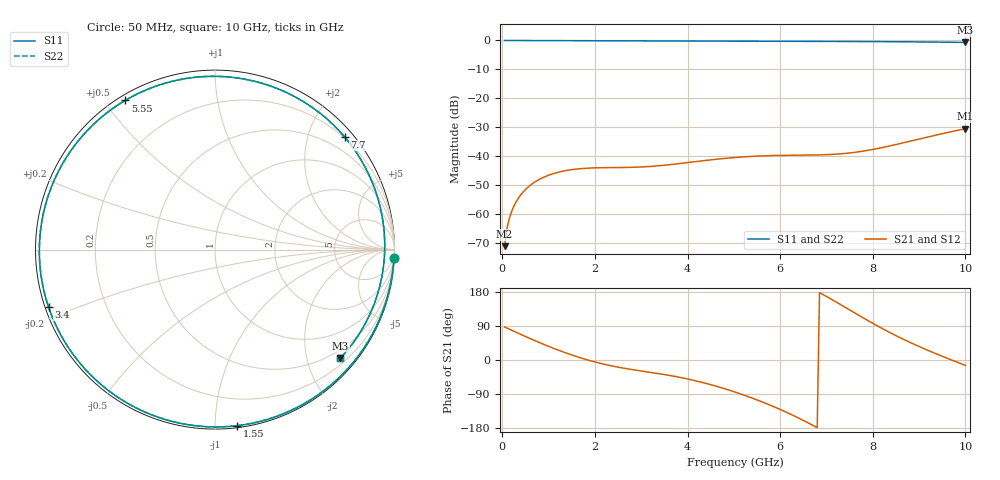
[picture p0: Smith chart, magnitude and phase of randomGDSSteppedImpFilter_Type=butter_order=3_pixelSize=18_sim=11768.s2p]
! freq	dB(S11)	phase(S11)	dB(S12)	phase(S12)
!  dB(S21)	phase(S21)	dB(S22)	phase(S22)
!S-par simulation data
#  GHz  S  DB  R 50
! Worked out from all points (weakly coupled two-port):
!   200 points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, 50 MHz to 10 GHz, reference 50 ohm
!   highest |S21| = -30.53 dB at 10 GHz (marker M1); lowest = -71.2 dB at 50 MHz (marker M2)
!   lowest |S11| = -0.7 dB at 10 GHz (marker M3), VSWR 25.17, Z = 16.1 - j132 ohm
!   |S11| at or under -10 dB: nowhere
!   |S22| runs from -0.7 to 0.0 dB; largest |S21 - S12| = 0
!   S11 on the Smith chart (normalised r, x): 50 MHz: 1, -42; 1.55 GHz: 0.01, -1.13; 3.4 GHz: 0.01, -0.17; 5.55 GHz: 0.02, +0.56; 7.7 GHz: 0.18, +2.66; 10 GHz: 0.32, -2.65
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0.05  -0.01 -2.7  -71.18 87.1  -71.18 87.1  -0.01 -2.7
0.1  -0.02 -5.6  -65.18 84.2  -65.18 84.2  -0.02 -5.6
0.2  -0.03 -11.2  -59.21 78.6  -59.21 78.6  -0.03 -11.2
0.3  -0.03 -16.9  -55.77 73.0  -55.77 73.0  -0.03 -16.9
0.45  -0.04 -25.3  -52.42 64.8  -52.42 64.8  -0.04 -25.3
0.7  -0.05 -39.1  -49.01 51.3  -49.01 51.3  -0.05 -39.1
1  -0.07 -55.1  -46.63 36.0  -46.63 36.0  -0.07 -55.1
1.55  -0.10 -82.8  -44.60 11.2  -44.60 11.2  -0.10 -82.8
1.75  -0.11 -92.3  -44.29 3.5  -44.29 3.5  -0.11 -92.4
2.15  -0.12 -110.5  -44.02 -9.8  -44.02 -9.8  -0.12 -110.5
2.6  -0.14 -129.6  -43.96 -21.1  -43.96 -21.1  -0.14 -129.6
3.4  -0.17 -161.0  -43.33 -36.4  -43.33 -36.4  -0.17 -161.0
4.2  -0.20 169.6  -41.87 -55.6  -41.87 -55.6  -0.20 169.6
5.05  -0.24 139.1  -40.48 -85.6  -40.48 -85.6  -0.24 139.1
5.55  -0.26 121.1  -39.99 -107.6  -39.99 -107.6  -0.26 121.0
6.15  -0.29 99.1  -39.73 -138.7  -39.73 -138.7  -0.29 99.0
6.7  -0.32 78.6  -39.64 -172.1  -39.64 -172.1  -0.32 78.5
7.2  -0.35 59.8  -39.36 153.7  -39.36 153.7  -0.35 59.7
7.7  -0.38 41.0  -38.53 117.8  -38.53 117.8  -0.38 40.9
8.35  -0.44 16.8  -36.56 73.7  -36.56 73.7  -0.44 16.7
9.15  -0.53 -12.0  -33.55 27.6  -33.55 27.6  -0.53 -12.1
10  -0.69 -40.9  -30.53 -14.0  -30.53 -14.0  -0.69 -41.0
